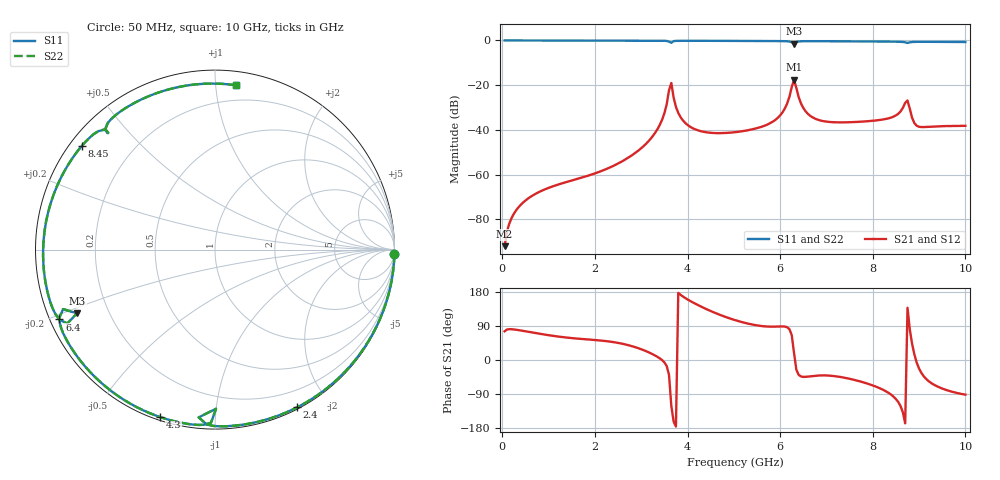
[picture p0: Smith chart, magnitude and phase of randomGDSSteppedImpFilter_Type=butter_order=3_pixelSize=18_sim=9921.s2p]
! freq	dB(S11)	phase(S11)	dB(S12)	phase(S12)
!  dB(S21)	phase(S21)	dB(S22)	phase(S22)
!S-par simulation data
#  GHz  S  DB  R 50
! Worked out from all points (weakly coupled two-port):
!   200 points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, 50 MHz to 10 GHz, reference 50 ohm
!   highest |S21| = -17.54 dB at 6.3 GHz (marker M1); lowest = -92.1 dB at 50 MHz (marker M2)
!   lowest |S11| = -1.5 dB at 6.3 GHz (marker M3), VSWR 11.92, Z = 4.4 - j10.9 ohm
!   |S11| at or under -10 dB: nowhere
!   |S22| runs from -1.5 to 0.0 dB; largest |S21 - S12| = 0
!   S11 on the Smith chart (normalised r, x): 50 MHz: 0, -85; 2.4 GHz: 0.02, -1.65; 4.3 GHz: 0.01, -0.73; 6.4 GHz: 0.03, -0.21; 8.45 GHz: 0.03, +0.34; 10 GHz: 0.09, +1.13
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0.05  -0.00 -1.3  -92.07 75.7  -92.07 75.7  -0.00 -1.3
0.75  -0.02 -20.0  -68.28 70.4  -68.28 70.4  -0.02 -20.0
1.75  -0.06 -46.0  -61.18 55.1  -61.18 55.1  -0.06 -46.0
2.4  -0.08 -62.5  -56.13 47.3  -56.13 47.3  -0.08 -62.5
3  -0.10 -77.5  -48.24 28.4  -48.24 28.4  -0.10 -77.5
3.4  -0.13 -87.7  -37.82 4.4  -37.82 4.4  -0.13 -87.8
3.5  -0.16 -90.8  -32.60 -6.3  -32.60 -6.3  -0.16 -90.8
3.65  -1.05 -89.6  -19.04 -121.2  -19.04 -121.2  -1.05 -89.7
3.75  -0.20 -93.5  -29.76 -175.6  -29.76 -175.6  -0.20 -93.6
3.85  -0.15 -96.7  -34.34 172.0  -34.34 172.0  -0.16 -96.7
4.3  -0.16 -108.0  -40.67 140.4  -40.67 140.4  -0.16 -108.1
5.05  -0.20 -126.0  -40.99 104.4  -40.99 104.4  -0.20 -126.0
5.95  -0.28 -148.3  -34.59 88.3  -34.59 88.3  -0.28 -148.4
6.15  -0.37 -154.3  -28.27 86.5  -28.27 86.5  -0.37 -154.4
6.3  -1.46 -155.2  -17.54 18.0  -17.54 18.0  -1.48 -155.3
6.4  -0.44 -155.8  -25.37 -39.3  -25.37 -39.3  -0.44 -155.9
6.7  -0.33 -165.5  -34.39 -42.3  -34.39 -42.3  -0.33 -165.6
8.35  -0.51 145.7  -34.80 -87.4  -34.80 -87.4  -0.51 145.5
8.45  -0.53 142.2  -34.07 -96.9  -34.07 -96.9  -0.53 142.0
8.75  -1.10 132.6  -26.87 137.9  -26.87 137.9  -1.10 132.4
8.95  -0.61 126.2  -38.19 -7.3  -38.19 -7.3  -0.61 125.9
10  -0.70 82.9  -38.20 -91.4  -38.20 -91.4  -0.70 82.6
